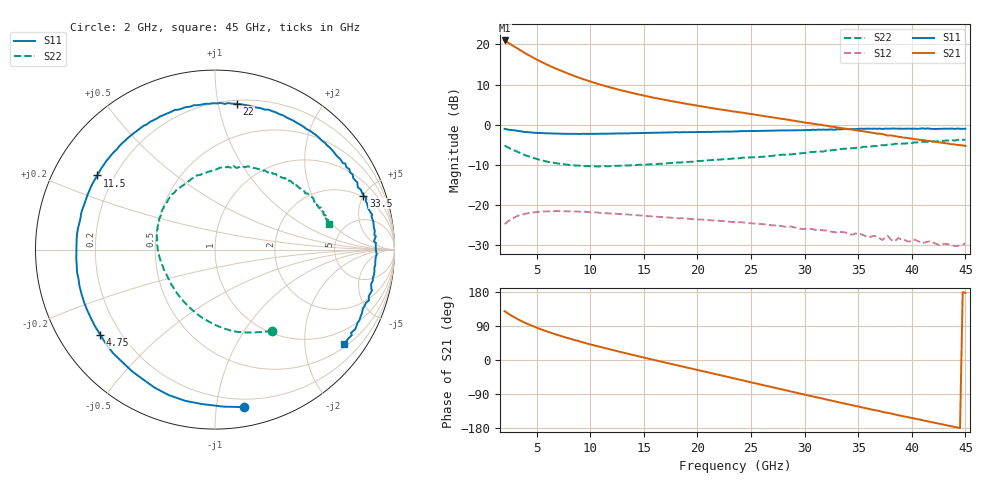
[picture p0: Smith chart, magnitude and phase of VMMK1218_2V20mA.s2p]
!Mon 10/Sep/2007 11:11:59
!Comment:  300um GSG cal using PCB - TRL cal standard, VMMK1218
! Vd(V)  IVd(mA)  Vg(V)  IVg(mA)
!2  20.29  0.5799  0
!Freq(GHZ)  S11(mag)  S11(ang)  S21(mag)  S21(ang)  S12(mag)  S12(ang)  S22(mag)  S22(ang)
#  GHZ  S  MA  R  50
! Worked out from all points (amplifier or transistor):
!   173 points, 2 GHz to 45 GHz, reference 50 ohm
!   highest |S21| = 21.0 dB at 2 GHz (marker M1)
!   |S21| within 3 dB of that: start of sweep to 3.814 GHz
!   unconditionally stable (mu >= 1): 18.24 GHz to 18.38 GHz; 18.78 GHz to end of sweep
!   at 9 GHz: K = 0.50, MSG = 16.6 dB, |S12| = -21.6 dB
!   at 23.5 GHz: K = 1.26, MAG = 10.7 dB, |S12| = -24.2 dB
!   at 45 GHz: K = 2.60, MAG = 5.1 dB, |S12| = -29.4 dB
!   lowest NFmin = 0.17 dB at 2 GHz
!   S11 on the Smith chart (normalised r, x): 2 GHz: 0.14, -1.19; 4.75 GHz: 0.13, -0.33; 11.5 GHz: 0.14, +0.28; 22 GHz: 0.23, +1.13; 33.5 GHz: 1.88, +4.99; 45 GHz: 0.57, -2.97
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2  0.8921 -79.6  11.22 128.9  0.058 43.8  0.5531 -54.9
2.5  0.8639 -94.5  10.17 119.4  0.0654 35.3  0.5076 -65.5
3  0.8505 -107.7  9.258 111.3  0.0713 28.2  0.4746 -74.9
3.25  0.8395 -113.6  8.83 107.5  0.0739 25.0  0.4596 -79.0
3.5  0.8261 -119.5  8.403 103.7  0.0754 22.0  0.4429 -83.3
4  0.8116 -129.9  7.674 96.9  0.0785 16.6  0.4148 -91.3
4.75  0.7965 -143.3  6.753 87.9  0.0815 9.3  0.3844 -101.3
5.75  0.7862 -158.2  5.784 77.3  0.0837 1.2  0.3545 -112.9
6.75  0.7788 -170.7  5.031 67.8  0.0844 -6.0  0.3341 -123.0
8  0.773 176.0  4.301 56.9  0.084 -13.7  0.3173 -134.5
9.25  0.7727 164.9  3.735 46.9  0.0826 -20.7  0.307 -144.7
11.5  0.776 147.8  3.016 30.4  0.0793 -31.4  0.3055 -160.7
13.75  0.7854 132.8  2.519 14.8  0.0761 -41.2  0.3132 -174.7
16.5  0.7979 115.7  2.102 -3.4  0.0714 -52.1  0.3285 170.9
19  0.8081 100.0  1.824 -19.8  0.0681 -60.9  0.3451 157.1
22  0.8216 81.6  1.565 -39.2  0.064 -73.0  0.3681 141.0
23.5  0.828 72.2  1.457 -49.1  0.0618 -79.0  0.3819 132.3
26.75  0.8434 52.7  1.254 -70.6  0.0565 -93.5  0.4081 111.2
30.75  0.8701 33.5  1.033 -96.0  0.0503 -112.2  0.4587 84.6
33.5  0.8794 20.0  0.9084 -113.5  0.0464 -126.1  0.5012 67.0
38  0.8966 -0.4  0.7395 -140.8  0.038 -154.6  0.5692 41.8
45  0.893 -36.1  0.5464 177.1  0.0337 158.3  0.6512 12.7
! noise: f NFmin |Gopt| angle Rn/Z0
2  0.17  0.727  30.9  0.1
3  0.24  0.624  46.2  0.1
5  0.38  0.457  75.8  0.08
7  0.51  0.344  104.1  0.07
8  0.58  0.307  117.8  0.07
10  0.72  0.273  144.3  0.06
12  0.85  0.292  169.6  0.06
13  0.92  0.322  -178.2  0.06
15  1.05  0.421  -154.8  0.06
17  1.19  0.573  -132.6  0.08
